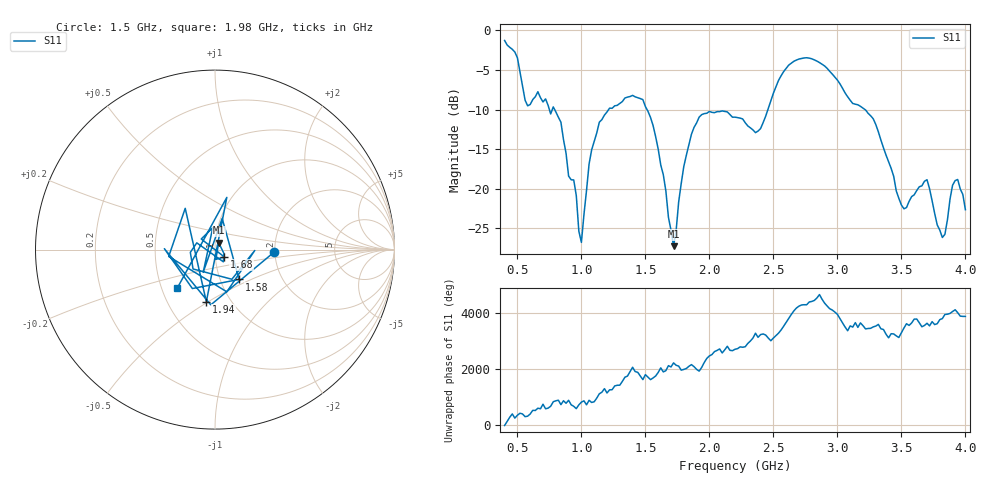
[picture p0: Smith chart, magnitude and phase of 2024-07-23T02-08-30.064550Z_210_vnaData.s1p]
!Created with skrf (http://scikit-rf.org).
# Hz S RI R 50.0
!freq ReS11 ImS11
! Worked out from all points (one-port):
!   181 points, 400 MHz to 4 GHz, reference 50 ohm
!   lowest |S11| = -27.2 dB at 1.72 GHz (marker M1), VSWR 1.09, Z = 51.9 + j3.98 ohm
!   |S11| at or under -10 dB: 791.2 MHz to 1.212 GHz (421.1 MHz wide, 42 % of centre); 1.513 GHz to 2.457 GHz (943.8 MHz wide, 47.5 % of centre); 3.216 GHz to end of sweep (the widest 3 of 4)
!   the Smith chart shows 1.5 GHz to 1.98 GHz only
!   S11 on the Smith chart (normalised r, x): 1.5 GHz: 1.99, -0.06; 1.58 GHz: 1.23, -0.43; 1.68 GHz: 1.11, -0.09; 1.94 GHz: 0.77, -0.49; 1.98 GHz: 0.60, -0.28
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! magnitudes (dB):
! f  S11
! 400 MHz  -1.3
! 500 MHz  -3.4
! 580 MHz  -9.5
! 720 MHz  -8.6
! 860 MHz  -13.8
! 940 MHz  -18.9
! 1 GHz  -26.8
! 1.08 GHz  -15.1
! 1.3 GHz  -9.2
! 1.5 GHz  -9.6
! 1.58 GHz  -13.4
! 1.68 GHz  -23.6
! 1.72 GHz  -27.2
! 1.76 GHz  -21.7
! 1.86 GHz  -13.1
! 1.94 GHz  -10.6
! 1.98 GHz  -10.5
! 2.2 GHz  -10.9
! 2.38 GHz  -12.7
! 2.66 GHz  -3.9
! 3.1 GHz  -8.8
! 3.28 GHz  -11.2
! 3.5 GHz  -22.0
! 3.56 GHz  -21.6
! 3.7 GHz  -18.8
! 3.82 GHz  -26.2
! 3.92 GHz  -19.0
! 4 GHz  -22.6
